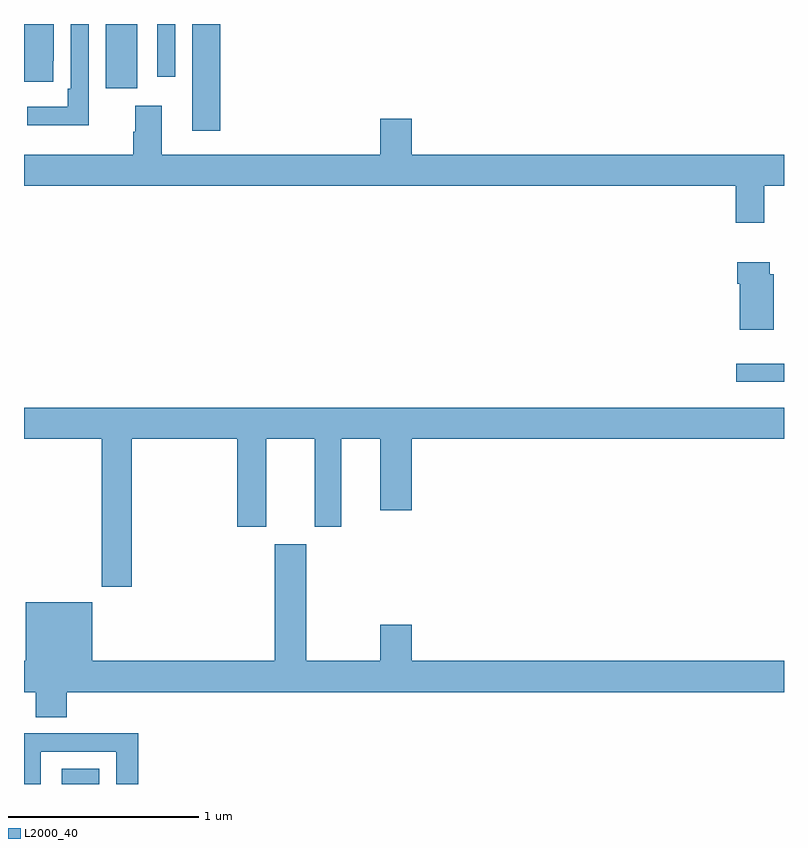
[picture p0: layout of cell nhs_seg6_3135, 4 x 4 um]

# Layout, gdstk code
import gdstk
lib = gdstk.Library(unit=1e-6, precision=1e-09)
def R(c, l, rs):  # rectangles x0, y0, x1, y1
    for r in rs: c.add(gdstk.rectangle(r[:2], r[2:], *l))
def P(c, l, *ps):  # polygons
    for p in ps: c.add(gdstk.Polygon(p, *l))
L2000_40 = (2000, 40)

nhs_seg6_3135 = lib.new_cell('nhs_seg6_3135')
R(nhs_seg6_3135, L2000_40, [(295.199,965.5,295.396,965.581), (298.749,967.616,299,967.713), (295.886,968.937,296.033,969.5), (295.43,969.162,295.597,969.5), (295.701,969.222,295.797,969.5)])
P(nhs_seg6_3135, L2000_40, [(295.341,969.5),(295.245,969.5),(295.245,969.16),(295.229,969.16),(295.229,969.064),(295.017,969.064),(295.017,968.966),(295.341,968.966)],
  [(295.155,969.307),(295.156,969.307),(295.156,969.5),(295,969.5),(295,969.195),(295.155,969.195)],
  [(298.897,968.648),(299,968.648),(299,968.812),(297.04,968.812),(297.04,969.001),(296.876,969.001),(296.876,968.812),(295.726,968.812),(295.726,969.07),(295.586,969.07),(295.586,968.933),(295.574,968.933),(295.574,968.812),(295,968.812),(295,968.648),(298.745,968.648),(298.745,968.454),(298.897,968.454)],
  [(298.945,968.184),(298.924,968.184),(298.924,968.245),(298.754,968.245),(298.754,968.132),(298.766,968.132),(298.766,967.892),(298.945,967.892)],
  [(295.568,967.316),(296.123,967.316),(296.123,966.855),(296.275,966.855),(296.275,967.316),(296.531,967.316),(296.531,966.855),(296.671,966.855),(296.671,967.316),(296.876,967.316),(296.876,966.942),(297.04,966.942),(297.04,967.316),(299,967.316),(299,967.48),(295,967.48),(295,967.316),(295.408,967.316),(295.408,966.537),(295.568,966.537)],
  [(295.226,965.984),(299,965.984),(299,966.148),(297.04,966.148),(297.04,966.337),(296.876,966.337),(296.876,966.148),(296.485,966.148),(296.485,966.763),(296.321,966.763),(296.321,966.148),(295.36,966.148),(295.36,966.457),(295.01,966.457),(295.01,966.148),(295,966.148),(295,965.984),(295.061,965.984),(295.061,965.851),(295.226,965.851)],
  [(295.089,965.67),(295.485,965.67),(295.485,965.5),(295.601,965.5),(295.601,965.768),(295.309,965.768),(295.309,965.766),(295,965.766),(295,965.5),(295.089,965.5)])

lib.write_gds('nhs_seg6_3135.gds')
